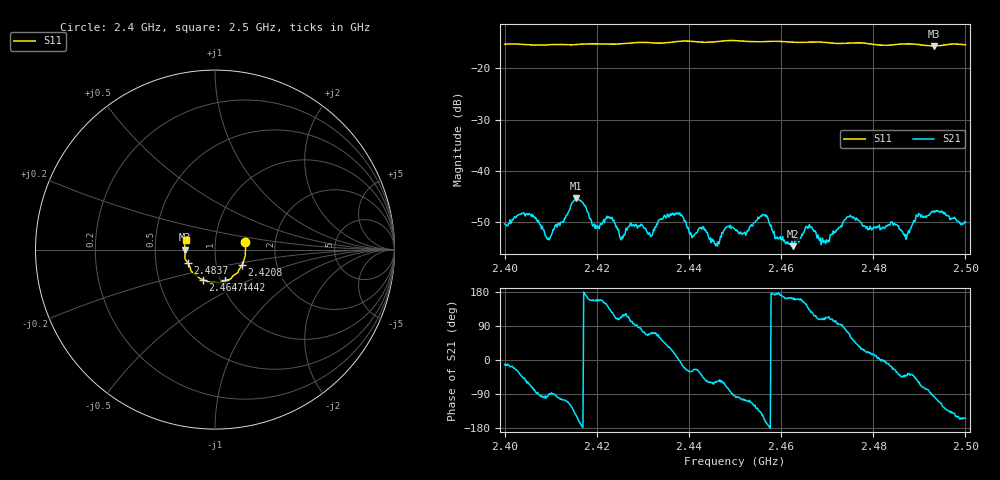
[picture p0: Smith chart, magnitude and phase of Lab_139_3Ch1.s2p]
# Hz S RI R 50
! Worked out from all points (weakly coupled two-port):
!   601 points, 2.4 GHz to 2.5 GHz, reference 50 ohm
!   highest |S21| = -45.41 dB at 2.4155 GHz (marker M1); lowest = -54.8 dB at 2.4627 GHz (marker M2)
!   lowest |S11| = -15.6 dB at 2.4932 GHz (marker M3), VSWR 1.40, Z = 35.8 - j0.0751 ohm
!   |S11| at or under -10 dB: start of sweep to end of sweep
!   S12 and S22 are empty: the file has one direction only
!   S11 on the Smith chart (normalised r, x): 2.4 GHz: 1.40, +0.12; 2.4208 GHz: 1.33, -0.24; 2.4442 GHz: 1.05, -0.37; 2.4647 GHz: 0.83, -0.29; 2.4837 GHz: 0.73, -0.11; 2.5 GHz: 0.72, +0.08
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2.4e9  0.1676 0.041  0.00296 -0.000615  0 0  0 0
2.405167e9  0.1703 0.00743  0.00181 -0.00324  0 0  0 0
2.409667e9  0.1687 -0.0259  3.22e-05 -0.00211  0 0  0 0
2.4155e9  0.1607 -0.0598  -0.00441 -0.00305  0 0  0 0
2.416667e9  0.1591 -0.0682  -0.00497 -0.000702  0 0  0 0
2.420833e9  0.1505 -0.0871  -0.00285 0.00111  0 0  0 0
2.4255e9  0.1345 -0.1113  -0.000991 0.00204  0 0  0 0
2.433333e9  0.1079 -0.1402  0.00126 0.00294  0 0  0 0
2.437833e9  0.0888 -0.1615  0.00386 -3.24e-05  0 0  0 0
2.444167e9  0.0567 -0.1715  0.00121 -0.00198  0 0  0 0
2.45e9  0.0245 -0.186  -0.000217 -0.00266  0 0  0 0
2.4565e9  -0.017 -0.1824  -0.00339 -0.00128  0 0  0 0
2.462667e9  -0.0519 -0.1733  -0.00176 0.000508  0 0  0 0
2.464667e9  -0.0673 -0.1671  -0.00211 0.00103  0 0  0 0
2.466667e9  -0.08 -0.1628  -0.00166 0.00228  0 0  0 0
2.469167e9  -0.0899 -0.1567  -0.000576 0.0019  0 0  0 0
2.474667e9  -0.12 -0.1303  0.0012 0.00334  0 0  0 0
2.483333e9  -0.1506 -0.0761  0.00288 -0.000495  0 0  0 0
2.483667e9  -0.1524 -0.0734  0.00284 -0.000807  0 0  0 0
2.487e9  -0.1665 -0.0525  0.00177 -0.00159  0 0  0 0
2.493167e9  -0.166 -0.00102  -0.000353 -0.00404  0 0  0 0
2.5e9  -0.1623 0.0528  -0.00279 -0.00137  0 0  0 0
